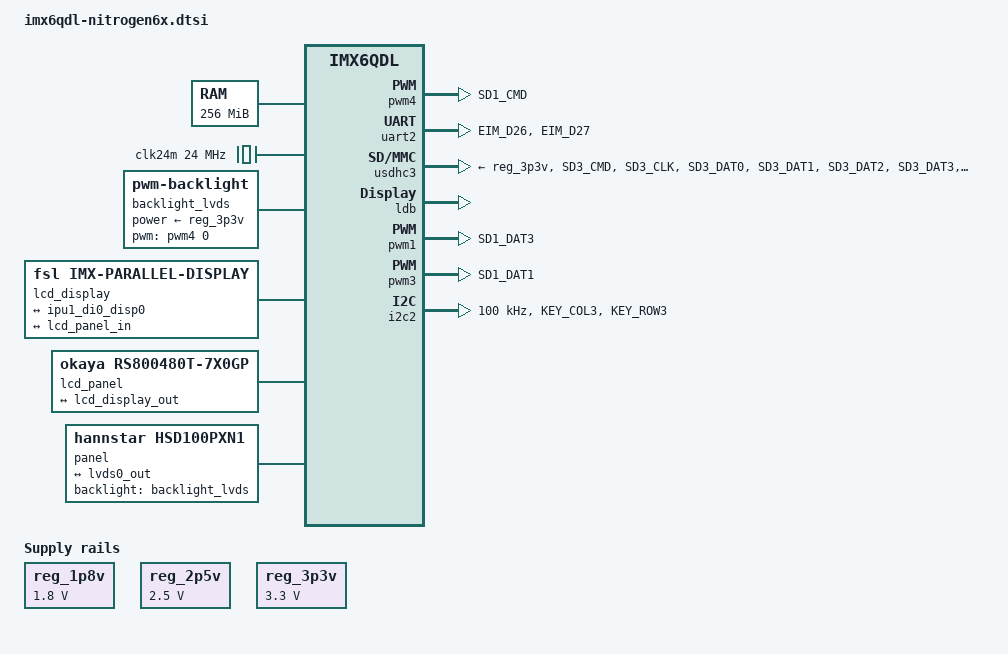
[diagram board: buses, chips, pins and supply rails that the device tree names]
/*
 * Copyright 2013 Boundary Devices
 * Copyright 2012 Freescale Semiconductor, Inc.
 * Copyright 2011 Linaro Ltd.
 *
 * The code contained herein is licensed under the GNU General Public
 * License. You may obtain a copy of the GNU General Public License
 * Version 2 or later at the following locations:
 *
 * http://www.opensource.org/licenses/gpl-license.html
 * http://www.gnu.org/copyleft/gpl.html
 */
#include <dt-bindings/input/input.h>

/ {
	aliases {
	};

	memory {
		reg = <0x10000000 0x10000000>;
	};

	clocks {
		clk24m: clk24m {
			compatible = "fixed-clock";
			#clock-cells = <0>;
			clock-frequency = <24000000>;
		};
	};

	/* Dummy - not controlled by the guest */
	backlight_lvds: backlight_lvds {
		compatible = "pwm-backlight";
		pwms = <&pwm4 0 5000000>;
		brightness-levels = <0 4 8 16 32 64 128 255>;
		default-brightness-level = <7>;
		power-supply = <&reg_3p3v>;
		status = "okay";
	};

	lcd_display: display@di0 {
		compatible = "fsl,imx-parallel-display";
		#address-cells = <1>;
		#size-cells = <0>;
		interface-pix-fmt = "bgr666";
		pinctrl-names = "default";
		pinctrl-0 = <&pinctrl_j15>;
		status = "okay";

		port@0 {
			reg = <0>;

			lcd_display_in: endpoint {
				remote-endpoint = <&ipu1_di0_disp0>;
			};
		};

		port@1 {
			reg = <1>;

			lcd_display_out: endpoint {
				remote-endpoint = <&lcd_panel_in>;
			};
		};
	};

	lcd_panel {
		compatible = "okaya,rs800480t-7x0gp";
		//backlight = <&backlight_lcd>;

		port {
			lcd_panel_in: endpoint {
				remote-endpoint = <&lcd_display_out>;
			};
		};
	};

	panel {
		compatible = "hannstar,hsd100pxn1";
		backlight = <&backlight_lvds>;

		port {
			panel_in: endpoint {
				remote-endpoint = <&lvds0_out>;
			};
		};
	};


	regulators {
		compatible = "simple-bus";

		reg_1p8v: 1p8v {
			compatible = "regulator-fixed";
			regulator-name = "1P8V";
			regulator-min-microvolt = <1800000>;
			regulator-max-microvolt = <1800000>;
			regulator-always-on;
		};

		reg_2p5v: 2p5v {
			compatible = "regulator-fixed";
			regulator-name = "2P5V";
			regulator-min-microvolt = <2500000>;
			regulator-max-microvolt = <2500000>;
			regulator-always-on;
		};

		reg_3p3v: 3p3v {
			compatible = "regulator-fixed";
			reg = <1>;
			regulator-name = "3P3V";
			regulator-min-microvolt = <3300000>;
			regulator-max-microvolt = <3300000>;
			regulator-always-on;
		};

		/* reg_usb_otg_vbus: usb_otg_vbus { */
		/* 	compatible = "regulator-fixed"; */
		/* 	regulator-name = "usb_otg_vbus"; */
		/* 	regulator-min-microvolt = <5000000>; */
		/* 	regulator-max-microvolt = <5000000>; */
		/* 	gpio = <&gpio3 22 0>; */
		/* 	enable-active-high; */
		/* }; */
	};

	/* gpio-keys { */
	/* 	compatible = "gpio-keys"; */
	/* 	power { */
	/* 		label = "Power Button"; */
	/* 		gpios = <&gpio2 3 0>; */
	/* 		linux,code = <KEY_POWER>;	/\* or KEY_SEARCH *\/ */
	/* 		gpio-key,wakeup; */
	/* 	}; */

	/* 	menu { */
	/* 		label = "Menu"; */
	/* 		gpios = <&gpio2 1 0>; */
	/* 		linux,code = <KEY_MENU>; */
	/* 	}; */

	/* 	home { */
	/* 		label = "Home"; */
	/* 		gpios = <&gpio2 4 0>; */
	/* 		linux,code = <KEY_HOME>; */
	/* 	}; */

	/* 	back { */
	/* 		label = "Back"; */
	/* 		gpios = <&gpio2 2 0>; */
	/* 		linux,code = <KEY_BACK>; */
	/* 	}; */

	/* 	volume-up { */
	/* 		label = "Volume Up"; */
	/* 		gpios = <&gpio7 13 0>; */
	/* 		linux,code = <KEY_VOLUMEUP>; */
	/* 	}; */

	/* 	volume-down { */
	/* 		label = "Volume Down"; */
	/* 		gpios = <&gpio4 5 0>; */
	/* 		linux,code = <KEY_VOLUMEDOWN>; */
	/* 	}; */
	/* }; */

	/* sound { */
	/* 	compatible = "fsl,imx6q-nitrogen6x-sgtl5000", */
	/* 		     "fsl,imx-audio-sgtl5000"; */
	/* 	model = "imx6q-nitrogen6x-sgtl5000"; */
	/* 	ssi-controller = <&ssi1>; */
	/* 	audio-codec = <&codec>; */
	/* 	audio-routing = */
	/* 		"MIC_IN", "Mic Jack", */
	/* 		"Mic Jack", "Mic Bias", */
	/* 		"Headphone Jack", "HP_OUT"; */
	/* 	mux-int-port = <1>; */
	/* 	mux-ext-port = <3>; */
	/* }; */
	/* sound-hdmi { */
	/* 	compatible = "fsl,imx6q-audio-hdmi", */
	/* 		     "fsl,imx-audio-hdmi"; */
	/* 	model = "imx-audio-hdmi"; */
	/* 	hdmi-controller = <&hdmi_audio>; */
	/* }; */

	//mxcfb1: fb@0 {
	//	compatible = "fsl,mxc_sdc_fb";
	//	disp_dev = "ldb";
	//	interface_pix_fmt = "RGB666";
	//	mode_str ="LDB-XGA";
	//	default_bpp = <16>;
	//	int_clk = <0>;
	//	late_init = <0>;
	//	status = "disabled";
	//};

	/* mxcfb2: fb@1 { */
	/* 	compatible = "fsl,mxc_sdc_fb"; */
	/* 	disp_dev = "hdmi"; */
	/* 	interface_pix_fmt = "RGB24"; */
	/* 	mode_str ="1920x1080M@60"; */
	/* 	default_bpp = <24>; */
	/* 	int_clk = <0>; */
	/* 	late_init = <0>; */
	/* 	status = "disabled"; */
	/* }; */

	/* mxcfb3: fb@2 { */
	/* 	compatible = "fsl,mxc_sdc_fb"; */
	/* 	disp_dev = "lcd"; */
	/* 	interface_pix_fmt = "RGB565"; */
	/* 	mode_str ="CLAA-WVGA"; */
	/* 	default_bpp = <16>; */
	/* 	int_clk = <0>; */
	/* 	late_init = <0>; */
	/* 	status = "disabled"; */
	/* }; */

	/* mxcfb4: fb@3 { */
	/* 	compatible = "fsl,mxc_sdc_fb"; */
	/* 	disp_dev = "ldb"; */
	/* 	interface_pix_fmt = "RGB666"; */
	/* 	mode_str ="LDB-XGA"; */
	/* 	default_bpp = <16>; */
	/* 	int_clk = <0>; */
	/* 	late_init = <0>; */
	/* 	status = "disabled"; */
	/* }; */

	/* lcd0: lcd@0 { */
	/* 	compatible = "fsl,lcd"; */
	/* 	ipu_id = <0>; */
	/* 	disp_id = <0>; */
	/* 	default_ifmt = "RGB565"; */
	/* 	pinctrl-names = "default"; */
	/* 	pinctrl-0 = <&pinctrl_ipu1_4>; */
	/* 	status = "okay"; */
	/* }; */

	/* backlight_lcd: backlight_lcd { */
	/* 	compatible = "pwm-backlight"; */
	/* 	pwms = <&pwm1 0 5000000>; */
	/* 	brightness-levels = <0 4 8 16 32 64 128 255>; */
	/* 	default-brightness-level = <7>; */
	/* }; */

	/* v4l2_cap_0: v4l2_cap_0 { */
	/* 	compatible = "fsl,imx6q-v4l2-capture"; */
	/* 	ipu_id = <0>; */
	/* 	csi_id = <0>; */
	/* 	mclk_source = <0>; */
	/* 	status = "okay"; */
	/* }; */

	/* v4l2_cap_1: v4l2_cap_1 { */
	/* 	compatible = "fsl,imx6q-v4l2-capture"; */
	/* 	ipu_id = <0>; */
	/* 	csi_id = <1>; */
	/* 	mipi_camera = <1>; */
	/* 	mclk_source = <0>; */
	/* 	status = "okay"; */
	/* }; */

	/* v4l2_cap_2: v4l2_cap_2 { */
	/* 	compatible = "fsl,imx6q-v4l2-capture"; */
	/* 	ipu_id = <0>; */
	/* 	csi_id = <1>; */
	/* 	mclk_source = <0>; */
	/* 	status = "okay"; */
	/* }; */

	/* v4l2_cap_3: v4l2_cap_3 { */
	/* 	compatible = "fsl,imx6q-v4l2-capture"; */
	/* 	ipu_id = <0>; */
	/* 	csi_id = <0>; */
	/* 	mipi_camera = <1>; */
	/* 	mclk_source = <0>; */
	/* 	status = "okay"; */
	/* }; */

	//v4l2_out {
	//	compatible = "fsl,mxc_v4l2_output";
	//	status = "okay";
	//};

	/* wlan { */
	/* 	compatible = "ti,wilink6"; */
	/* 	interrupt-parent = <&gpio6>; */
	/* 	interrupts = <14 IRQ_TYPE_LEVEL_HIGH>; */
	/* 	clocks = <&refclock>; */
	/* 	clock-names = "refclock"; */

	/* 	refclock: refclock { */
	/* 		compatible = "ti,wilink-clock"; */
	/* 		#clock-cells = <0>; */
	/* 		clock-frequency = <38400000>; */
	/* 	}; */
	/* }; */

	/* wlan_bt_rfkill { */
	/* 	compatible = "net,rfkill-gpio"; */
	/* 	name = "wlan_bt_rfkill"; */
	/* 	type = <2>;     /\* bluetooth *\/ */
	/* 	gpios = <&gpio6 16 0>; */
	/* }; */
};

/* &audmux { */
/* 	pinctrl-names = "default"; */
/* 	pinctrl-0 = <&pinctrl_audmux_2>; */
/* 	status = "okay"; */
/* }; */

/* &ecspi1 { */
/* 	fsl,spi-num-chipselects = <1>; */
/* 	cs-gpios = <&gpio3 19 0>; */
/* 	pinctrl-names = "default"; */
/* 	pinctrl-0 = <&pinctrl_ecspi1_1>; */
/* 	status = "okay"; */

/* 	flash: m25p80@0 { */
/* 		compatible = "sst,sst25vf016b"; */
/* 		spi-max-frequency = <20000000>; */
/* 		reg = <0>; */
/* 		#address-cells = <1>; */
/* 		#size-cells = <1>; */
/* 		partition@0 { */
/* 			label = "U-Boot"; */
/* 			reg = <0x0 0xC0000>; */
/* 		}; */
/* 		partition@C0000 { */
/* 			label = "env"; */
/* 			reg = <0xC0000 0x2000>; */
/* 		}; */
/* 		partition@C2000 { */
/* 			label = "splash"; */
/* 			reg = <0xC2000 0x13e000>; */
/* 		}; */
/* 	}; */
/* }; */

/* &fec { */
/* 	pinctrl-names = "default"; */
/* 	pinctrl-0 = <&pinctrl_enet_4>; */
/* 	phy-mode = "rgmii"; */
/* #if 0 */
/* 	phy-reset-gpios = <&gpio1 27 0>; */
/* #endif */
/* 	status = "okay"; */

/* 	#address-cells = <0>; */
/* 	#size-cells = <1>; */
/* 	phy_int { */
/* 		reg = <0x6>; */
/* 		interrupt-parent = <&gpio1>; */
/* 		interrupts = <28 IRQ_TYPE_LEVEL_LOW>; */
/* 	}; */
/* }; */

/* &flexcan1 { */
/* 	pinctrl-names = "default"; */
/* 	pinctrl-0 = <&pinctrl_flexcan1_1>; */
/* 	trx-stby-gpio = <&gpio1 2 GPIO_ACTIVE_LOW>; */
/* 	status = "okay"; */
/* }; */

/* &hdmi_audio { */
/* 	status = "okay"; */
/* }; */

/* &hdmi_cec { */
/* 	pinctrl-names = "default"; */
/* 	pinctrl-0 = <&pinctrl_hdmi_cec_2>; */
/* 	status = "okay"; */
/* }; */

/* &hdmi_core { */
/* 	ipu_id = <0>; */
/* 	disp_id = <0>; */
/* 	status = "okay"; */
/* }; */

/* &hdmi_video { */
/* 	fsl,phy_reg_vlev = <0x0294>; */
/* 	fsl,phy_reg_cksymtx = <0x800d>; */
/* 	status = "okay"; */
/* }; */

/* &i2c1 { */
/* 	clock-frequency = <100000>; */
/* 	pinctrl-names = "default"; */
/* 	pinctrl-0 = <&pinctrl_i2c1_1>; */
/* 	status = "okay"; */

/* 	codec: sgtl5000@0a { */
/* 		compatible = "fsl,sgtl5000"; */
/* 		reg = <0x0a>; */
/* 		clocks = <&clks 201>; */
/* 		VDDA-supply = <&reg_2p5v>; */
/* 		VDDIO-supply = <&reg_3p3v>; */
/* 	}; */
/* 	isl1208@6f { */
/* 		compatible = "isl,isl1208"; */
/* 		reg = <0x6f>; */
/* 		interrupt-parent = <&gpio6>; */
/* 		interrupts = <7 IRQ_TYPE_EDGE_FALLING>; */
/* 	}; */
/* }; */

/* &i2c2 { */
/* 	clock-frequency = <100000>; */
/* 	pinctrl-names = "default"; */
/* 	pinctrl-0 = <&pinctrl_i2c2_2>; */
/* 	status = "okay"; */

/* 	hdmi: edid@50 { */
/* 		compatible = "fsl,imx6-hdmi-i2c"; */
/* 		reg = <0x50>; */
/* 	}; */

/* 	ov5642: ov5642@3d { */
/* 		compatible = "ovti,ov5642"; */
/* 		reg = <0x3d>; */
/* 		pinctrl-names = "default"; */
/* 		pinctrl-0 = <&pinctrl_ipu1_2>; */
/* 		clocks = <&clks 200>; */
/* 		clock-names = "csi_mclk"; */
/* 		DOVDD-supply = <&reg_1p8v>; */
/* 		AVDD-supply = <&reg_2p5v>; */
/* 		DVDD-supply = <&reg_1p8v>; */
/* 		pwn-gpios = <&gpio1 6 1>; */
/* 		rst-gpios = <&gpio1 8 0>; */
/* 		ipu_id = <0>; */
/* 		csi_id = <0>; */
/* 		mclk = <24000000>; */
/* 		mclk_source = <0>; */
/* 	}; */

/* 	ov5640_mipi: ov5640_mipi@3e { */
/* 		compatible = "ovti,ov5640_mipi"; */
/* 		reg = <0x3e>; */
/* 		clocks = <&clks 147>; */
/* 		clock-names = "csi_mclk"; */
/* 		DOVDD-supply = <&reg_1p8v>; */
/* 		AVDD-supply = <&reg_2p5v>; */
/* 		DVDD-supply = <&reg_1p8v>; */
/* 		pwn-gpios = <&gpio6 9 1>; */
/* 		rst-gpios = <&gpio2 5 0>; */
/* 		ipu_id = <0>; */
/* 		csi_id = <1>; */
/* 		mclk = <22000000>; */
/* 		mclk_source = <0>; */
/* 		pwms = <&pwm3 0 45>; */
/* 	}; */
/* }; */

/* &i2c3 { */
/*         clock-frequency = <100000>; */
/*         pinctrl-names = "default"; */
/*         pinctrl-0 = <&pinctrl_i2c3_3>; */
/*         status = "okay"; */

/*         egalax_ts@04 { */
/*                 compatible = "eeti,egalax_ts"; */
/*                 reg = <0x04>; */
/*                 interrupt-parent = <&gpio1>; */
/*                 interrupts = <9 2>; */
/*                 wakeup-gpios = <&gpio1 9 0>; */
/*         }; */

/*         ft5x06_ts@38 { */
/* 		compatible = "ft5x06-ts,ft5x06-ts"; */
/* 		reg = <0x38>; */
/* 		interrupt-parent = <&gpio1>; */
/* 		interrupts = <9 2>; */
/* 		wakeup-gpios = <&gpio1 9 0>; */
/* 	}; */

/*         ili210x@41 { */
/* 		compatible = "ili210x"; */
/* 		reg = <0x41>; */
/* 		interrupt-parent = <&gpio1>; */
/* 		interrupts = <9 2>; */
/* 		wakeup-gpios = <&gpio1 9 0>; */
/* 	}; */

/* 	ov5640: ov5640@3c { */
/* 		compatible = "ovti,ov5640"; */
/* 		reg = <0x3c>; */
/* 		pinctrl-names = "default"; */
/* 		pinctrl-0 = <&pinctrl_ov5640 &pinctrl_ov5640_gpios>; */
/* 		clocks = <&clk24m 0>; */
/* 		clock-names = "csi_mclk"; */
/* 		DOVDD-supply = <&reg_1p8v>; */
/* 		AVDD-supply = <&reg_2p5v>; */
/* 		DVDD-supply = <&reg_1p8v>; */
/* 		pwn-gpios = <&gpio3 13 1>; */
/* 		rst-gpios = <&gpio3 14 0>; */
/* 		csi_id = <1>; */
/* 		mclk = <24000000>; */
/* 		mclk_source = <0>; */
/* 	}; */

/* 	tsc2004: tsc2004@48 { */
/* 		compatible = "tsc2004,tsc2004"; */
/* 		reg = <0x48>; */
/* 		pinctrl-names = "default"; */
/* 		pinctrl-0 = <&pinctrl_tsc2004>; */
/* 		interrupt-parent = <&gpio4>; */
/* 		interrupts = <20 2>; */
/* 		wakeup-gpios = <&gpio4 20 0>; */
/* 	}; */
/* }; */

&iomuxc {
	pinctrl-names = "default";
	pinctrl-0 = <&pinctrl_hog>;

	imx6q-nitrogen6x {
		pinctrl_hog: hoggrp {
			fsl,pins = <
				/* SGTL5000 sys_mclk */
				MX6QDL_PAD_GPIO_0__CCM_CLKO1    0x030b0
				MX6QDL_PAD_GPIO_9__GPIO1_IO09	0x1b0b0
			>;
		};

		pinctrl_audmux: audmuxgrp {
			fsl,pins = <
				MX6QDL_PAD_CSI0_DAT7__AUD3_RXD		0x130b0
				MX6QDL_PAD_CSI0_DAT4__AUD3_TXC		0x130b0
				MX6QDL_PAD_CSI0_DAT5__AUD3_TXD		0x110b0
				MX6QDL_PAD_CSI0_DAT6__AUD3_TXFS		0x130b0
			>;
		};

		pinctrl_can1: can1grp {
			fsl,pins = <
				MX6QDL_PAD_KEY_COL2__FLEXCAN1_TX	0x1b0b0
				MX6QDL_PAD_KEY_ROW2__FLEXCAN1_RX	0x1b0b0
			>;
		};

		pinctrl_can_xcvr: can-xcvrgrp {
			fsl,pins = <
				/* Flexcan XCVR enable */
				MX6QDL_PAD_GPIO_2__GPIO1_IO02		0x1b0b0
			>;
		};

		pinctrl_ecspi1: ecspi1grp {
			fsl,pins = <
				MX6QDL_PAD_EIM_D17__ECSPI1_MISO		0x100b1
				MX6QDL_PAD_EIM_D18__ECSPI1_MOSI		0x100b1
				MX6QDL_PAD_EIM_D16__ECSPI1_SCLK		0x100b1
				MX6QDL_PAD_EIM_D19__GPIO3_IO19  0x000b1	/* CS */
			>;
		};

		pinctrl_enet: enetgrp {
			fsl,pins = <
				MX6QDL_PAD_ENET_MDIO__ENET_MDIO		0x100b0
				MX6QDL_PAD_ENET_MDC__ENET_MDC		0x100b0
				MX6QDL_PAD_RGMII_TXC__RGMII_TXC		0x100b0
				MX6QDL_PAD_RGMII_TD0__RGMII_TD0		0x100b0
				MX6QDL_PAD_RGMII_TD1__RGMII_TD1		0x100b0
				MX6QDL_PAD_RGMII_TD2__RGMII_TD2		0x100b0
				MX6QDL_PAD_RGMII_TD3__RGMII_TD3		0x100b0
				MX6QDL_PAD_RGMII_TX_CTL__RGMII_TX_CTL	0x100b0
				MX6QDL_PAD_ENET_REF_CLK__ENET_TX_CLK	0x100b0
				MX6QDL_PAD_RGMII_RXC__RGMII_RXC		0x1b0b0
				MX6QDL_PAD_RGMII_RD0__RGMII_RD0		0x1b0b0
				MX6QDL_PAD_RGMII_RD1__RGMII_RD1		0x1b0b0
				MX6QDL_PAD_RGMII_RD2__RGMII_RD2		0x1b0b0
				MX6QDL_PAD_RGMII_RD3__RGMII_RD3		0x1b0b0
				MX6QDL_PAD_RGMII_RX_CTL__RGMII_RX_CTL	0x1b0b0
				/* Phy reset */
				MX6QDL_PAD_ENET_RXD0__GPIO1_IO27	0x000b0
				MX6QDL_PAD_GPIO_6__ENET_IRQ		0x000b1
			>;
		};

		pinctrl_gpio_keys: gpio_keysgrp {
			fsl,pins = <
				/* Power Button */
				MX6QDL_PAD_NANDF_D3__GPIO2_IO03		0x1b0b0
				/* Menu Button */
				MX6QDL_PAD_NANDF_D1__GPIO2_IO01		0x1b0b0
				/* Home Button */
				MX6QDL_PAD_NANDF_D4__GPIO2_IO04		0x1b0b0
				/* Back Button */
				MX6QDL_PAD_NANDF_D2__GPIO2_IO02		0x1b0b0
				/* Volume Up Button */
				MX6QDL_PAD_GPIO_18__GPIO7_IO13		0x1b0b0
				/* Volume Down Button */
				MX6QDL_PAD_GPIO_19__GPIO4_IO05		0x1b0b0
			>;
		};

		pinctrl_i2c1: i2c1grp {
			fsl,pins = <
				MX6QDL_PAD_EIM_D21__I2C1_SCL		0x4001b8b1
				MX6QDL_PAD_EIM_D28__I2C1_SDA		0x4001b8b1
			>;
		};

		pinctrl_i2c2: i2c2grp {
			fsl,pins = <
				MX6QDL_PAD_KEY_COL3__I2C2_SCL		0x4001b8b1
				MX6QDL_PAD_KEY_ROW3__I2C2_SDA		0x4001b8b1
			>;
		};

		pinctrl_i2c3: i2c3grp {
			fsl,pins = <
				MX6QDL_PAD_GPIO_5__I2C3_SCL		0x4001b8b1
				MX6QDL_PAD_GPIO_16__I2C3_SDA		0x4001b8b1
			>;
		};

		pinctrl_j15: j15grp {
			fsl,pins = <
				MX6QDL_PAD_DI0_DISP_CLK__IPU1_DI0_DISP_CLK 0x10
				MX6QDL_PAD_DI0_PIN15__IPU1_DI0_PIN15       0x10
				MX6QDL_PAD_DI0_PIN2__IPU1_DI0_PIN02        0x10
				MX6QDL_PAD_DI0_PIN3__IPU1_DI0_PIN03        0x10
				MX6QDL_PAD_DISP0_DAT0__IPU1_DISP0_DATA00   0x10
				MX6QDL_PAD_DISP0_DAT1__IPU1_DISP0_DATA01   0x10
				MX6QDL_PAD_DISP0_DAT2__IPU1_DISP0_DATA02   0x10
				MX6QDL_PAD_DISP0_DAT3__IPU1_DISP0_DATA03   0x10
				MX6QDL_PAD_DISP0_DAT4__IPU1_DISP0_DATA04   0x10
				MX6QDL_PAD_DISP0_DAT5__IPU1_DISP0_DATA05   0x10
				MX6QDL_PAD_DISP0_DAT6__IPU1_DISP0_DATA06   0x10
				MX6QDL_PAD_DISP0_DAT7__IPU1_DISP0_DATA07   0x10
				MX6QDL_PAD_DISP0_DAT8__IPU1_DISP0_DATA08   0x10
				MX6QDL_PAD_DISP0_DAT9__IPU1_DISP0_DATA09   0x10
				MX6QDL_PAD_DISP0_DAT10__IPU1_DISP0_DATA10  0x10
				MX6QDL_PAD_DISP0_DAT11__IPU1_DISP0_DATA11  0x10
				MX6QDL_PAD_DISP0_DAT12__IPU1_DISP0_DATA12  0x10
				MX6QDL_PAD_DISP0_DAT13__IPU1_DISP0_DATA13  0x10
				MX6QDL_PAD_DISP0_DAT14__IPU1_DISP0_DATA14  0x10
				MX6QDL_PAD_DISP0_DAT15__IPU1_DISP0_DATA15  0x10
				MX6QDL_PAD_DISP0_DAT16__IPU1_DISP0_DATA16  0x10
				MX6QDL_PAD_DISP0_DAT17__IPU1_DISP0_DATA17  0x10
				MX6QDL_PAD_DISP0_DAT18__IPU1_DISP0_DATA18  0x10
				MX6QDL_PAD_DISP0_DAT19__IPU1_DISP0_DATA19  0x10
				MX6QDL_PAD_DISP0_DAT20__IPU1_DISP0_DATA20  0x10
				MX6QDL_PAD_DISP0_DAT21__IPU1_DISP0_DATA21  0x10
				MX6QDL_PAD_DISP0_DAT22__IPU1_DISP0_DATA22  0x10
				MX6QDL_PAD_DISP0_DAT23__IPU1_DISP0_DATA23  0x10
			>;
		};

		pinctrl_pwm1: pwm1grp {
			fsl,pins = <
				MX6QDL_PAD_SD1_DAT3__PWM1_OUT 0x1b0b1
			>;
		};

		pinctrl_pwm3: pwm3grp {
			fsl,pins = <
				MX6QDL_PAD_SD1_DAT1__PWM3_OUT 0x1b0b1
			>;
		};

		pinctrl_pwm4: pwm4grp {
			fsl,pins = <
				MX6QDL_PAD_SD1_CMD__PWM4_OUT 0x1b0b1
			>;
		};

		pinctrl_uart1: uart1grp {
			fsl,pins = <
				MX6QDL_PAD_SD3_DAT7__UART1_TX_DATA	0x1b0b1
				MX6QDL_PAD_SD3_DAT6__UART1_RX_DATA	0x1b0b1
			>;
		};

		pinctrl_uart2: uart2grp {
			fsl,pins = <
				MX6QDL_PAD_EIM_D26__UART2_TX_DATA	0x1b0b1
				MX6QDL_PAD_EIM_D27__UART2_RX_DATA	0x1b0b1
			>;
		};

		pinctrl_usbotg: usbotggrp {
			fsl,pins = <
				MX6QDL_PAD_GPIO_1__USB_OTG_ID	0x17059
				MX6QDL_PAD_KEY_COL4__USB_OTG_OC	0x1b0b0
				/* power enable, high active */
				MX6QDL_PAD_EIM_D22__GPIO3_IO22  0x000b0
			>;
		};

		pinctrl_usdhc2: usdhc2grp {
			fsl,pins = <
				MX6QDL_PAD_SD2_CMD__SD2_CMD		0x17071
				MX6QDL_PAD_SD2_CLK__SD2_CLK		0x10071
				MX6QDL_PAD_SD2_DAT0__SD2_DATA0		0x17071
				MX6QDL_PAD_SD2_DAT1__SD2_DATA1		0x17071
				MX6QDL_PAD_SD2_DAT2__SD2_DATA2		0x17071
				MX6QDL_PAD_SD2_DAT3__SD2_DATA3		0x17071
				MX6QDL_PAD_NANDF_CS2__GPIO6_IO15	0x000b0
			>;
		};

		pinctrl_usdhc3: usdhc3grp {
			fsl,pins = <
				MX6QDL_PAD_SD3_CMD__SD3_CMD		0x17059
				MX6QDL_PAD_SD3_CLK__SD3_CLK		0x10059
				MX6QDL_PAD_SD3_DAT0__SD3_DATA0		0x17059
				MX6QDL_PAD_SD3_DAT1__SD3_DATA1		0x17059
				MX6QDL_PAD_SD3_DAT2__SD3_DATA2		0x17059
				MX6QDL_PAD_SD3_DAT3__SD3_DATA3		0x17059
				MX6QDL_PAD_SD3_DAT5__GPIO7_IO00 0x1b0b0	/* CD */
			>;
		};

		pinctrl_usdhc4: usdhc4grp {
			fsl,pins = <
				MX6QDL_PAD_SD4_CMD__SD4_CMD		0x17059
				MX6QDL_PAD_SD4_CLK__SD4_CLK		0x10059
				MX6QDL_PAD_SD4_DAT0__SD4_DATA0		0x17059
				MX6QDL_PAD_SD4_DAT1__SD4_DATA1		0x17059
				MX6QDL_PAD_SD4_DAT2__SD4_DATA2		0x17059
				MX6QDL_PAD_SD4_DAT3__SD4_DATA3		0x17059
				MX6QDL_PAD_NANDF_D6__GPIO2_IO06 0x1b0b0	/* CD */
			>;
		};

		pinctrl_wlan_vmmc: wlan_vmmcgrp {
			fsl,pins = <
				MX6QDL_PAD_NANDF_CS0__GPIO6_IO11	0x100b0
				MX6QDL_PAD_NANDF_CS2__GPIO6_IO15	0x000b0
				MX6QDL_PAD_NANDF_CS3__GPIO6_IO16	0x000b0
				MX6QDL_PAD_SD1_CLK__OSC32K_32K_OUT	0x000b0
			>;
		};
	};
};

&pwm4 {
	pinctrl-names = "default";
	pinctrl-0 = <&pinctrl_pwm4>;
	status = "okay";
};

&uart2 {
	pinctrl-names = "default";
	pinctrl-0 = <&pinctrl_uart2>;
	status = "okay";
};

&usdhc3 {
	pinctrl-names = "default";
	pinctrl-0 = <&pinctrl_usdhc3>;
	cd-gpios = <&gpio7 0 0>;
	vmmc-supply = <&reg_3p3v>;
	status = "okay";
};

&ipu1_di0_disp0 {
	remote-endpoint = <&lcd_display_in>;
};

&ldb {
	status = "okay";

	lvds-channel@0 {
		fsl,data-mapping = "spwg";
		fsl,data-width = <18>;
		status = "okay";

		port@4 {
			reg = <4>;

			lvds0_out: endpoint {
				remote-endpoint = <&panel_in>;
			};
		};
	};
};

&pwm1 {
	pinctrl-names = "default";
	pinctrl-0 = <&pinctrl_pwm1>;
	status = "okay";
};

&pwm3 {
	pinctrl-names = "default";
	pinctrl-0 = <&pinctrl_pwm3>;
	status = "okay";
};

&pwm4 {
	pinctrl-names = "default";
	pinctrl-0 = <&pinctrl_pwm4>;
	status = "okay";
};

&i2c2 {
	clock-frequency = <100000>;
	pinctrl-names = "default";
	pinctrl-0 = <&pinctrl_i2c2>;
	status = "okay";
};
